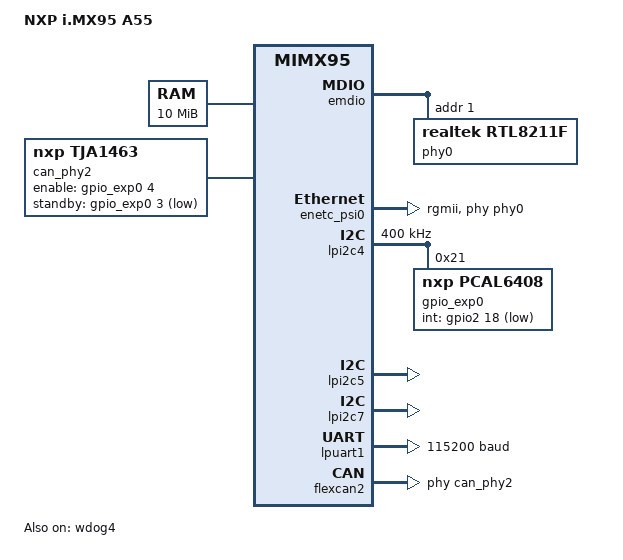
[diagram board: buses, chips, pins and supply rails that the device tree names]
/*
 * Copyright 2024-2025 NXP
 *
 * SPDX-License-Identifier: Apache-2.0
 */

/dts-v1/;

#include <nxp/nxp_mimx95_19x19_a55.dtsi>
#include "imx95_evk-pinctrl.dtsi"

/ {
	model = "NXP i.MX95 A55";
	compatible = "fsl,mimx95";

	aliases {
		watchdog0 = &wdog4;
	};

	chosen {
		zephyr,console = &lpuart1;
		zephyr,shell-uart = &lpuart1;
		/* sram node actually locates at DDR DRAM */
		zephyr,sram = &dram;
		zephyr,canbus = &flexcan2;
	};

	cpus {
		cpu@0 {
			status = "disabled";
		};

		cpu@100 {
			status = "disabled";
		};

		cpu@200 {
			status = "disabled";
		};

		cpu@300 {
			status = "disabled";
		};

		cpu@400 {
			status = "disabled";
		};
	};

	dram: memory@d0000000 {
		reg = <0xd0000000 DT_SIZE_M(10)>;
	};

	can_phy2: can-phy2 {
		compatible = "nxp,tja1463", "can-transceiver-gpio";
		enable-gpios = <&gpio_exp0 4 GPIO_ACTIVE_HIGH>;
		standby-gpios = <&gpio_exp0 3 GPIO_ACTIVE_LOW>;
		max-bitrate = <8000000>;
		#phy-cells = <0>;
		status = "okay";
	};
};

&emdio {
	pinctrl-0 = <&emdio_default>;
	pinctrl-names = "default";
	status = "okay";

	phy0: phy@1 {
		compatible = "realtek,rtl8211f";
		reg = <0x1>;
		status = "okay";
	};
};

&enetc_psi0 {
	local-mac-address = [00 00 00 01 02 00];
	pinctrl-0 = <&eth0_default>;
	pinctrl-names = "default";
	phy-handle = <&phy0>;
	phy-connection-type = "rgmii";
	status = "okay";
};

&enetc_ptp_clock {
	status = "okay";
};

&gpio2 {
	status = "okay";
};

&lpi2c4 {
	clock-frequency = <I2C_BITRATE_FAST>;
	pinctrl-0 = <&lpi2c4_default>;
	pinctrl-names = "default";
	status = "okay";

	gpio_exp0: pcal6408@21 {
		compatible = "nxp,pcal6408";
		reg = <0x21>;
		#gpio-cells = <2>;
		gpio-controller;
		ngpios = <8>;
		int-gpios = <&gpio2 18 (GPIO_ACTIVE_LOW | GPIO_PULL_UP)>;
		status = "okay";
	};
};

&lpi2c5 {
	pinctrl-0 = <&lpi2c5_default>;
	pinctrl-names = "default";
	status = "okay";
};

&lpi2c7 {
	pinctrl-0 = <&lpi2c7_default>;
	pinctrl-names = "default";
	status = "okay";
};

&lpuart1 {
	status = "okay";
	current-speed = <115200>;
	pinctrl-0 = <&lpuart1_default>;
	pinctrl-names = "default";
};

&wdog4 {
	status = "okay";
};

&flexcan2 {
	pinctrl-0 = <&flexcan2_default>;
	pinctrl-names = "default";
	phys = <&can_phy2>;
	status = "okay";
};
